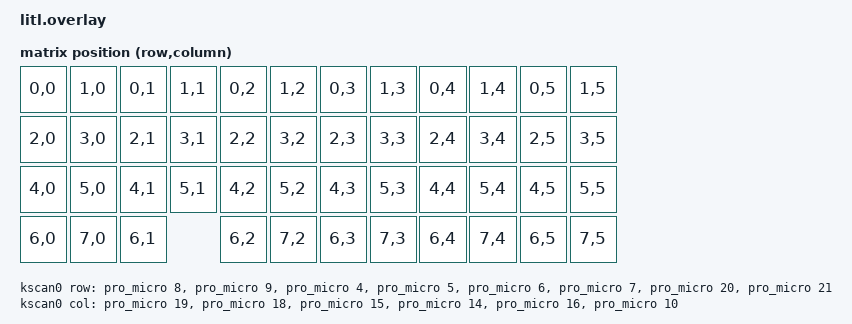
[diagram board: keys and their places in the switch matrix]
#include <dt-bindings/zmk/matrix_transform.h>
#include "litl-layouts.dtsi"

/ {
    chosen {
        zmk,kscan = &kscan0;
        zmk,physical-layout = &layout_all;
    };

    /* Map scan row/col -> key positions (row-major) */
    default_transform: keymap_transform_0 {
        compatible = "zmk,matrix-transform";
        rows = <8>;
        columns = <6>;
        map = <
            RC(0,0)  RC(1,0) RC(0,1) RC(1,1) RC(0,2) RC(1,2) RC(0,3) RC(1,3) RC(0,4) RC(1,4) RC(0,5) RC(1,5) 
            RC(2,0)  RC(3,0) RC(2,1) RC(3,1) RC(2,2) RC(3,2) RC(2,3) RC(3,3) RC(2,4) RC(3,4) RC(2,5) RC(3,5)
            RC(4,0)  RC(5,0) RC(4,1) RC(5,1) RC(4,2) RC(5,2) RC(4,3) RC(5,3) RC(4,4) RC(5,4) RC(4,5) RC(5,5)    
            RC(6,0)  RC(7,0) RC(6,1)         RC(6,2) RC(7,2) RC(6,3) RC(7,3) RC(6,4) RC(7,4) RC(6,5) RC(7,5)      
        >;
    };

    kscan0: kscan_0 {
        compatible = "zmk,kscan-gpio-matrix";
        label = "KSCAN";
        diode-direction = "row2col";
        wakeup-source;

        col-gpios
        =  <&pro_micro 19 (GPIO_ACTIVE_HIGH | GPIO_PULL_DOWN)>
        ,  <&pro_micro 18 (GPIO_ACTIVE_HIGH | GPIO_PULL_DOWN)>
        ,  <&pro_micro 15 (GPIO_ACTIVE_HIGH | GPIO_PULL_DOWN)>
        ,  <&pro_micro 14 (GPIO_ACTIVE_HIGH | GPIO_PULL_DOWN)>
        ,  <&pro_micro 16 (GPIO_ACTIVE_HIGH | GPIO_PULL_DOWN)>
        ,  <&pro_micro 10 (GPIO_ACTIVE_HIGH | GPIO_PULL_DOWN)>
        ;

        row-gpios 
        =  <&pro_micro 8 GPIO_ACTIVE_HIGH>
        ,  <&pro_micro 9 GPIO_ACTIVE_HIGH>
        ,  <&pro_micro 4 GPIO_ACTIVE_HIGH>
        ,  <&pro_micro 5 GPIO_ACTIVE_HIGH>
        ,  <&pro_micro 6 GPIO_ACTIVE_HIGH>
        ,  <&pro_micro 7 GPIO_ACTIVE_HIGH>
        ,  <&pro_micro 20 GPIO_ACTIVE_HIGH>
        ,  <&pro_micro 21 GPIO_ACTIVE_HIGH>
        ;
    };
};

/* === (Optional) EC11 rotary encoder(s) ===
 * Copy ENCODERS_PAD_A/B from QMK if you use encoders.
 * You can add multiple encoder nodes and list them in &sensors.
 * Encoders in ZMK are "sensors" (rotation) + a separate key for the push switch.
 * Docs: hardware & feature pages: https://zmk.dev/docs/development/hardware-integration/encoders
 */
// Example with a single encoder (replace pins):
/*
&sensors {
    compatible = "zmk,keymap-sensors";
    sensors = <&ec11_left>;         // list all encoders here
    triggers-per-rotation = <24>;   // set to your detents (common: 18, 20, 24)
};

ec11_left: ec11_left {
    compatible = "alps,ec11";
    // TODO: pins from your QMK ENCODERS_PAD_A/B (Pro Micro names)
    a-gpios = <&pro_micro D4 (GPIO_ACTIVE_HIGH | GPIO_PULL_UP)>;
    b-gpios = <&pro_micro D5 (GPIO_ACTIVE_HIGH | GPIO_PULL_UP)>;
    steps = <24>;  // matches your detents
    status = "okay";
};
*/

/* === (Optional) OLED / Nice!View ===
 * Litl has an OLED footprint; ZMK supports SSD1306 and nice!view.
 * If you go SSD1306 via I2C, define an I2C bus (or use the board’s default)
 * and add a display node. For Nice!View you add "nice_view" as an extra shield.
 * Docs/guides: https://zmk.dev/docs/config/displays
 */
// Example (i2c SSD1306 at 0x3C):
/*
&i2c0 {
    status = "okay";
    sda-pin = <&pro_micro D1>;  // TODO: your SDA pad
    scl-pin = <&pro_micro D0>;  // TODO: your SCL pad

    ssd1306@3c {
        compatible = "solomon,ssd1306fb";
        reg = <0x3c>;
        width = <128>;
        height = <32>;
        segment-remap;
        com-invdir;
    };
};
*/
